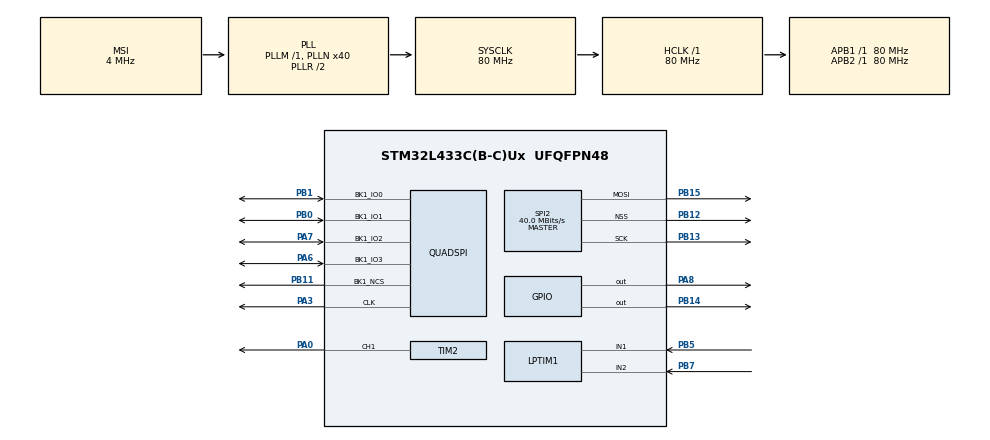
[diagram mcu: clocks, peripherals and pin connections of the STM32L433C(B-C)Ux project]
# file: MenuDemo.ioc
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Dma.Request0=SPI2_TX
Dma.SPI2_TX.0.Direction=DMA_MEMORY_TO_PERIPH
Dma.SPI2_TX.0.Instance=DMA1_Channel5
Dma.SPI2_TX.0.MemDataAlignment=DMA_MDATAALIGN_BYTE
Dma.SPI2_TX.0.MemInc=DMA_MINC_ENABLE
Dma.SPI2_TX.0.Mode=DMA_NORMAL
Dma.SPI2_TX.0.PeriphDataAlignment=DMA_PDATAALIGN_BYTE
Dma.SPI2_TX.0.PeriphInc=DMA_PINC_DISABLE
Dma.SPI2_TX.0.Priority=DMA_PRIORITY_HIGH
LPTIM1.ULPClockPolarity=LPTIM_CLOCKPOLARITY_RISING_FALLING
Mcu.Family=STM32L4
Mcu.Name=STM32L433C(B-C)Ux
Mcu.Package=UFQFPN48
NVIC.DMA1_Channel5_IRQn=true\:0\:0\:false\:false\:true\:false\:true
NVIC.LPTIM1_IRQn=true\:0\:0\:false\:false\:true\:true\:true
NVIC.PriorityGroup=NVIC_PRIORITYGROUP_4
NVIC.TIM6_DAC_IRQn=true\:0\:0\:false\:false\:true\:true\:true
NVIC.TIM7_IRQn=true\:0\:0\:false\:false\:true\:true\:true
PA0.Signal=S_TIM2_CH1
PA13\ (JTMS-SWDIO).Mode=Trace_Asynchronous_SW
PA13\ (JTMS-SWDIO).Signal=SYS_JTMS-SWDIO
PA14\ (JTCK-SWCLK).Mode=Trace_Asynchronous_SW
PA14\ (JTCK-SWCLK).Signal=SYS_JTCK-SWCLK
PA3.Mode=Single Bank 1
PA3.Signal=QUADSPI_CLK
PA6.Mode=Single Bank 1
PA6.Signal=QUADSPI_BK1_IO3
PA7.Mode=Single Bank 1
PA7.Signal=QUADSPI_BK1_IO2
PA8.Signal=GPIO_Output
PB0.Mode=Single Bank 1
PB0.Signal=QUADSPI_BK1_IO1
PB1.Mode=Single Bank 1
PB1.Signal=QUADSPI_BK1_IO0
PB11.Mode=Single Bank 1
PB11.Signal=QUADSPI_BK1_NCS
PB12.Mode=NSS_Signal_Hard_Output
PB12.Signal=SPI2_NSS
PB13.Mode=TX_Only_Simplex_Unidirect_Master
PB13.Signal=SPI2_SCK
PB14.Signal=GPIO_Output
PB15.Mode=TX_Only_Simplex_Unidirect_Master
PB15.Signal=SPI2_MOSI
PB3\ (JTDO-TRACESWO).Mode=Trace_Asynchronous_SW
PB3\ (JTDO-TRACESWO).Signal=SYS_JTDO-SWO
PB5.Mode=Encoder_mode_occur1
PB5.Signal=LPTIM1_IN1
PB7.Mode=Encoder_mode_occur1
PB7.Signal=LPTIM1_IN2
ProjectManager.HeapSize=0x200
ProjectManager.StackSize=0x400
ProjectManager.TargetToolchain=STM32CubeIDE
QUADSPI.ClockPrescaler=1
QUADSPI.FlashSize=24
RCC.AHBFreq_Value=80000000
RCC.APB1Freq_Value=80000000
RCC.APB1TimFreq_Value=80000000
RCC.APB2Freq_Value=80000000
RCC.APB2TimFreq_Value=80000000
RCC.CortexFreq_Value=80000000
RCC.HCLKFreq_Value=80000000
RCC.HSE_VALUE=8000000
RCC.HSI48_VALUE=48000000
RCC.HSI_VALUE=16000000
RCC.LSE_VALUE=32768
RCC.MSI_VALUE=4000000
RCC.PLLN=40
RCC.SYSCLKFreq_VALUE=80000000
RCC.SYSCLKSource=RCC_SYSCLKSOURCE_PLLCLK
RCC.VCOOutputFreq_Value=160000000
SH.S_TIM2_CH1.0=TIM2_CH1,PWM Generation1 CH1
SPI2.CalculateBaudRate=40.0 MBits/s
SPI2.DataSize=SPI_DATASIZE_8BIT
SPI2.Direction=SPI_DIRECTION_2LINES
SPI2.Mode=SPI_MODE_MASTER
SPI2.VirtualNSS=VM_NSSHARD
SPI2.VirtualType=VM_MASTER
STMicroelectronics.X-CUBE-TOUCHGFX.4.18.0.ApplicationCcGraphicsJjApplication=TouchGFXOoGenerator
STMicroelectronics.X-CUBE-TOUCHGFX.4.18.0.tgfx_block_size=2880
STMicroelectronics.X-CUBE-TOUCHGFX.4.18.0.tgfx_buffering_strategy=Partial
STMicroelectronics.X-CUBE-TOUCHGFX.4.18.0.tgfx_custom_height=240
STMicroelectronics.X-CUBE-TOUCHGFX.4.18.0.tgfx_custom_width=240
STMicroelectronics.X-CUBE-TOUCHGFX.4.18.0_IsPackSelfContextualization=true
TIM2.AutoReloadPreload=TIM_AUTORELOAD_PRELOAD_ENABLE
TIM2.Channel-PWM\ Generation1\ CH1=TIM_CHANNEL_1
TIM2.OCFastMode_PWM-PWM\ Generation1\ CH1=TIM_OCFAST_ENABLE
TIM2.Period=65535
TIM6.AutoReloadPreload=TIM_AUTORELOAD_PRELOAD_ENABLE
TIM6.Period=39800
TIM6.Prescaler=66
TIM7.AutoReloadPreload=TIM_AUTORELOAD_PRELOAD_ENABLE
TIM7.Period=39999
TIM7.Prescaler=1
VP_CRC_VS_CRC.Mode=CRC_Activate
VP_STMicroelectronics.X-CUBE-TOUCHGFX_VS_GraphicsJjApplication_4.18.0.Mode=GraphicsJjApplication
VP_TIM2_VS_ClockSourceINT.Mode=Internal
VP_TIM6_VS_ClockSourceINT.Mode=Enable_Timer
VP_TIM7_VS_ClockSourceINT.Mode=Enable_Timer
board=custom

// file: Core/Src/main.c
/* USER CODE BEGIN Header */
/**
  ******************************************************************************
  * @file           : main.c
  * @brief          : Main program body
  ******************************************************************************
  * @attention
  *
  * <h2><center>&copy; Copyright (c) 2022 STMicroelectronics.
  * All rights reserved.</center></h2>
  *
  * This software component is licensed by ST under Ultimate Liberty license
  * SLA0044, the "License"; You may not use this file except in compliance with
  * the License. You may obtain a copy of the License at:
  *                             www.st.com/SLA0044
  *
  ******************************************************************************
  */
/* USER CODE END Header */
#include "main.h"
#include "crc.h"
#include "dma.h"
#include "lptim.h"
#include "quadspi.h"
#include "spi.h"
#include "tim.h"
#include "gpio.h"
#include "app_touchgfx.h"

/* USER CODE BEGIN Includes */
#include "GC9A01.h"
#include "math.h"
#include "defs.h"
/* USER CODE END Includes */

/* USER CODE BEGIN PD */

#define NONE    (0u)
#define LEFT    (1u)
#define RIGHT   (2u)

#define ENCODER_GOING_UP    (0u)
#define ENCODER_GOING_DOWN  (1u)

#define INPUT_TIMEOUT          (1300u)   // around 2 sec
#define DEMO_RUNNING_TIMEOUT   (48000u)  // around 60 sec
#define MAX_DISPLAY_BRIGHTNESS (65520u)
#define MAX_ENCODER_CNT        (65535u)
/* USER CODE END PD */

/* USER CODE BEGIN PV */

extern volatile uint8_t screenSelected;
extern volatile uint8_t selectedIcon;
uint8_t tmpUserSelection = 0;

volatile int32_t  volume       = 0;
volatile uint8_t  updateFromPC = 0;
volatile uint8_t  movement     = NONE;
volatile uint32_t steps        = 0;

volatile uint8_t buttonPushed  = NONE;
volatile uint8_t userSelection;
uint8_t fadeToBlack = 0;
uint8_t blackFaze = 0;
/* USER CODE END PV */

void SystemClock_Config(void);
/* USER CODE BEGIN PFP */
void touchgfxSignalVSync(void);
/* USER CODE END PFP */

/* USER CODE BEGIN 0 */

// global variables for back light operation
volatile uint32_t targetBacklight           = 0;  // 65520 is max brightness
volatile uint8_t  blacklightTransitionReady = 1;  // if this value is not 1 means the back light is in transition from one value to another

volatile uint32_t selectioTimeout = 1;

void HAL_TIM_PeriodElapsedCallback(TIM_HandleTypeDef *htim)
{
	if (htim->Instance == TIM6)
	{
		touchgfxSignalVSync();
	}

	if (htim->Instance == TIM7)
	{
		if(TIM2->CCR1 > targetBacklight)
		{
			TIM2->CCR1 = TIM2->CCR1 - 70;
		}

		if(TIM2->CCR1 < targetBacklight)
		{
			TIM2->CCR1 = TIM2->CCR1 + 70;
		}

		if(TIM2->CCR1 == targetBacklight)
		{
			blacklightTransitionReady = 1;
		}else{
			blacklightTransitionReady = 0;
		}

		if(selectioTimeout > 1)
		{
		    selectioTimeout = selectioTimeout - 50;
		}
	}
}
/* USER CODE END 0 */

int main(void)
{
  /* USER CODE BEGIN 1 */
    uint32_t countDif           = 0;
    uint32_t currentEncoderVal  = 0;
    uint32_t prevEncoderVal     = 0;
  /* USER CODE END 1 */

  /* MCU Configuration--------------------------------------------------------*/

  /* Reset of all peripherals, Initializes the Flash interface and the Systick. */
  HAL_Init();

  /* Configure the system clock */
  SystemClock_Config();

  /* Initialize all configured peripherals */
  MX_GPIO_Init();
  MX_CRC_Init();
  MX_TIM2_Init();
  MX_TIM6_Init();
  MX_TIM7_Init();
  MX_DMA_Init();
  MX_SPI2_Init();
  MX_QUADSPI_Init();
  MX_LPTIM1_Init();
  MX_TouchGFX_Init();
  /* USER CODE BEGIN 2 */

  //for the external flash and memory mapped mode
  CSP_QUADSPI_Init();
  CSP_QSPI_EnableMemoryMappedMode();

  //for the back light PWM and dimming
  TIM2->CCR1 = 0;
  HAL_TIM_PWM_Start(&htim2, TIM_CHANNEL_1);
  HAL_TIM_Base_Start_IT(&htim7);
  TIM2->CCR1 = targetBacklight;

  // init the display driver
  GC9A01_init();

  // this is for the GFX screen refresh
  HAL_TIM_Base_Start_IT(&htim6);

  // for the rotary encoder IP
  HAL_LPTIM_Encoder_Start_IT(&hlptim1, 0xffff);

  //Some sketchy things to make to refresh the screen while the backlight is off
  MX_TouchGFX_Process();

  // turn the backlight on gradually
  targetBacklight = MAX_DISPLAY_BRIGHTNESS;

  /* USER CODE END 2 */

  /* Infinite loop */
  /* USER CODE BEGIN WHILE */
  uint32_t tickstart = 0;
  while (1)
  {
    if(blacklightTransitionReady == 1 && fadeToBlack == 1)
    {
        tickstart = HAL_GetTick();
        screenSelected = tmpUserSelection;
        fadeToBlack = 0;
        blackFaze = 1;
    }

    if(blackFaze == 1)
    {
        if(HAL_GetTick() - tickstart > 150)
        {
            blackFaze = 0;
            targetBacklight = MAX_DISPLAY_BRIGHTNESS;
        }
    }

    // get the latest value of the encoder
    currentEncoderVal = HAL_LPTIM_ReadCounter(&hlptim1);

    // check if the user has turned the encoder
    if(prevEncoderVal != currentEncoderVal)
    {
       // get the difference between current counter value and the new counter value
       if(currentEncoderVal > prevEncoderVal)
       {
           countDif = currentEncoderVal - prevEncoderVal;
           movement = LEFT;
       }else{
           countDif = prevEncoderVal - currentEncoderVal;
           movement = RIGHT;
       }

       // here we can see if we have overflow of the counter or not
       if(countDif > (MAX_ENCODER_CNT/2))
       {
           // correct for the over/under flow
           countDif = MAX_ENCODER_CNT - countDif; // just subtract from max value

           if(LEFT == movement)
           {
               movement = RIGHT;
           }else{
               movement = LEFT;
           }
       }

       steps = countDif / 2;

       if(0 != steps)
       {
           prevEncoderVal = currentEncoderVal;
       }else{
           movement = NONE;
       }
    }else{
        movement = NONE;
    }

    switch(movement)
    {
        case LEFT:
            buttonPushed = LEFT;
            if(tmpUserSelection == 0)
            {
                tmpUserSelection = 4;
            }
            tmpUserSelection = tmpUserSelection - 1;
            selectioTimeout = 65500;
            break;

        case RIGHT:
            buttonPushed = RIGHT;
            tmpUserSelection = tmpUserSelection + 1;
            if(tmpUserSelection > 3)
            {
                tmpUserSelection = 0;
            }
            selectioTimeout = 65500;
            break;

        case NONE:
            //buttonPushed = NONE;
            if(selectioTimeout == 0)
            {
                selectioTimeout = 1;

                if(screenSelected == 0)
                {
                    if(tmpUserSelection !=0)
                    {
                        targetBacklight = 0;
                        fadeToBlack = 1;
                        blacklightTransitionReady = 0;
                    }
                }else{
                    tmpUserSelection = 0;
                    targetBacklight = 0;
                    fadeToBlack = 1;
                    blacklightTransitionReady = 0;
                }
            }
            break;

        default:
               break;
    }
    /* USER CODE END WHILE */

    MX_TouchGFX_Process();
  }
}

void SystemClock_Config(void)
{
  RCC_OscInitTypeDef RCC_OscInitStruct = {0};
  RCC_ClkInitTypeDef RCC_ClkInitStruct = {0};

  /** Configure the main internal regulator output voltage
  */
  if (HAL_PWREx_ControlVoltageScaling(PWR_REGULATOR_VOLTAGE_SCALE1) != HAL_OK)
  {
    Error_Handler();
  }
  /** Initializes the RCC Oscillators according to the specified parameters
  * in the RCC_OscInitTypeDef structure.
  */
  RCC_OscInitStruct.OscillatorType = RCC_OSCILLATORTYPE_MSI;
  RCC_OscInitStruct.MSIState = RCC_MSI_ON;
  RCC_OscInitStruct.MSICalibrationValue = 0;
  RCC_OscInitStruct.MSIClockRange = RCC_MSIRANGE_6;
  RCC_OscInitStruct.PLL.PLLState = RCC_PLL_ON;
  RCC_OscInitStruct.PLL.PLLSource = RCC_PLLSOURCE_MSI;
  RCC_OscInitStruct.PLL.PLLM = 1;
  RCC_OscInitStruct.PLL.PLLN = 40;
  RCC_OscInitStruct.PLL.PLLP = RCC_PLLP_DIV7;
  RCC_OscInitStruct.PLL.PLLQ = RCC_PLLQ_DIV2;
  RCC_OscInitStruct.PLL.PLLR = RCC_PLLR_DIV2;
  if (HAL_RCC_OscConfig(&RCC_OscInitStruct) != HAL_OK)
  {
    Error_Handler();
  }
  /** Initializes the CPU, AHB and APB buses clocks
  */
  RCC_ClkInitStruct.ClockType = RCC_CLOCKTYPE_HCLK|RCC_CLOCKTYPE_SYSCLK
                              |RCC_CLOCKTYPE_PCLK1|RCC_CLOCKTYPE_PCLK2;
  RCC_ClkInitStruct.SYSCLKSource = RCC_SYSCLKSOURCE_PLLCLK;
  RCC_ClkInitStruct.AHBCLKDivider = RCC_SYSCLK_DIV1;
  RCC_ClkInitStruct.APB1CLKDivider = RCC_HCLK_DIV1;
  RCC_ClkInitStruct.APB2CLKDivider = RCC_HCLK_DIV1;

  if (HAL_RCC_ClockConfig(&RCC_ClkInitStruct, FLASH_LATENCY_4) != HAL_OK)
  {
    Error_Handler();
  }
}

void Error_Handler(void)
{
  __disable_irq();
  while (1)
  {
  }
}

/************************ (C) COPYRIGHT STMicroelectronics *****END OF FILE****/
